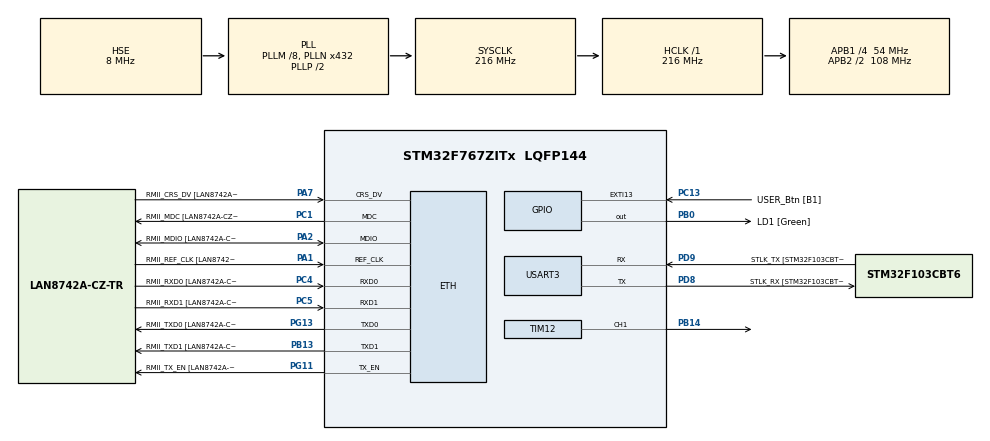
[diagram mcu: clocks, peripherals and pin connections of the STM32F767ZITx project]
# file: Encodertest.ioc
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ETH.MediaInterface=HAL_ETH_RMII_MODE
ETH.PHY_Name=LAN8742A_PHY_ADDRESS
ETH.PHY_Value=0
ETH.PhyAddress=0
Mcu.Family=STM32F7
Mcu.Name=STM32F767ZITx
Mcu.Package=LQFP144
NVIC.PriorityGroup=NVIC_PRIORITYGROUP_4
PA0/WKUP.Signal=S_TIM2_CH1_ETR
PA1.GPIO_Label=RMII_REF_CLK [LAN8742A-CZ-TR_REFCLK0]
PA1.Mode=RMII
PA1.Signal=ETH_REF_CLK
PA13.GPIO_Label=TMS
PA13.Mode=Serial_Wire
PA13.Signal=SYS_JTMS-SWDIO
PA14.GPIO_Label=TCK
PA14.Mode=Serial_Wire
PA14.Signal=SYS_JTCK-SWCLK
PA2.GPIO_Label=RMII_MDIO [LAN8742A-CZ-TR_MDIO]
PA2.Mode=RMII
PA2.Signal=ETH_MDIO
PA7.GPIO_Label=RMII_CRS_DV [LAN8742A-CZ-TR_CRS_DV]
PA7.Mode=RMII
PA7.Signal=ETH_CRS_DV
PA8.Signal=S_TIM1_CH1
PA9.Signal=S_TIM1_CH2
PB0.GPIO_Label=LD1 [Green]
PB0.Signal=GPIO_Output
PB13.GPIO_Label=RMII_TXD1 [LAN8742A-CZ-TR_TXD1]
PB13.Mode=RMII
PB13.Signal=ETH_TXD1
PB14.Signal=S_TIM12_CH1
PB3.GPIO_Label=SWO
PB3.Signal=SYS_JTDO-SWO
PC1.GPIO_Label=RMII_MDC [LAN8742A-CZ-TR_MDC]
PC1.Mode=RMII
PC1.Signal=ETH_MDC
PC13.GPIO_Label=USER_Btn [B1]
PC13.Signal=GPXTI13
PC14/OSC32_IN.Mode=LSE-External-Oscillator
PC14/OSC32_IN.Signal=RCC_OSC32_IN
PC15/OSC32_OUT.Mode=LSE-External-Oscillator
PC15/OSC32_OUT.Signal=RCC_OSC32_OUT
PC4.GPIO_Label=RMII_RXD0 [LAN8742A-CZ-TR_RXD0]
PC4.Mode=RMII
PC4.Signal=ETH_RXD0
PC5.GPIO_Label=RMII_RXD1 [LAN8742A-CZ-TR_RXD1]
PC5.Mode=RMII
PC5.Signal=ETH_RXD1
PD8.GPIO_Label=STLK_RX [STM32F103CBT6_PA3]
PD8.Mode=Asynchronous
PD8.Signal=USART3_TX
PD9.GPIO_Label=STLK_TX [STM32F103CBT6_PA2]
PD9.Mode=Asynchronous
PD9.Signal=USART3_RX
PG11.GPIO_Label=RMII_TX_EN [LAN8742A-CZ-TR_TXEN]
PG11.Mode=RMII
PG11.Signal=ETH_TX_EN
PG13.GPIO_Label=RMII_TXD0 [LAN8742A-CZ-TR_TXD0]
PG13.Mode=RMII
PG13.Signal=ETH_TXD0
PH0/OSC_IN.GPIO_Label=MCO [STM32F103CBT6_PA8]
PH0/OSC_IN.Mode=HSE-External-Clock-Source
PH0/OSC_IN.Signal=RCC_OSC_IN
PH1/OSC_OUT.Mode=HSE-External-Clock-Source
PH1/OSC_OUT.Signal=RCC_OSC_OUT
ProjectManager.HeapSize=0x200
ProjectManager.StackSize=0x400
ProjectManager.TargetToolchain=STM32CubeIDE
RCC.48MHZClocksFreq_Value=24000000
RCC.AHBFreq_Value=216000000
RCC.APB1CLKDivider=RCC_HCLK_DIV4
RCC.APB1Freq_Value=54000000
RCC.APB1TimFreq_Value=108000000
RCC.APB2CLKDivider=RCC_HCLK_DIV2
RCC.APB2Freq_Value=108000000
RCC.APB2TimFreq_Value=216000000
RCC.CortexFreq_Value=216000000
RCC.HCLKFreq_Value=216000000
RCC.HSE_VALUE=8000000
RCC.HSI_VALUE=16000000
RCC.PLLM=8
RCC.PLLMUL=RCC_PLL_MUL9
RCC.PLLN=432
RCC.PLLQ=9
RCC.PLLSourceVirtual=RCC_PLLSOURCE_HSE
RCC.PRESCALERUSB=RCC_USBCLKSOURCE_PLL_DIV1_5
RCC.SYSCLKFreq_VALUE=216000000
RCC.SYSCLKSource=RCC_SYSCLKSOURCE_PLLCLK
RCC.SYSCLKSourceVirtual=RCC_SYSCLKSOURCE_PLLCLK
RCC.USBFreq_Value=48000000
RCC.VCOOutputFreq_Value=432000000
SH.S_TIM12_CH1.0=TIM12_CH1,PWM Generation1 CH1
SH.S_TIM1_CH1.0=TIM1_CH1
SH.S_TIM1_CH2.0=TIM1_CH2
SH.S_TIM2_CH1_ETR.0=TIM2_CH1
TIM12.Channel-PWM\ Generation1\ CH1=TIM_CHANNEL_1
USART3.VirtualMode-Asynchronous=VM_ASYNC
VP_TIM1_VS_ClockSourceINT.Mode=Internal
board=NUCLEO-F767ZI

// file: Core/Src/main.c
/* USER CODE BEGIN Header */
/**
  ******************************************************************************
  * @file           : main.c
  * @brief          : Main program body
  ******************************************************************************
  * @attention
  *
  * Copyright (c) 2025 STMicroelectronics.
  * All rights reserved.
  *
  * This software is licensed under terms that can be found in the LICENSE file
  * in the root directory of this software component.
  * If no LICENSE file comes with this software, it is provided AS-IS.
  *
  ******************************************************************************
  */
/* USER CODE END Header */
#include "main.h"
#include "string.h"
#include "tim.h"

#if defined ( __ICCARM__ ) /*!< IAR Compiler */
#pragma location=0x2007c000
ETH_DMADescTypeDef  DMARxDscrTab[ETH_RX_DESC_CNT]; /* Ethernet Rx DMA Descriptors */
#pragma location=0x2007c0a0
ETH_DMADescTypeDef  DMATxDscrTab[ETH_TX_DESC_CNT]; /* Ethernet Tx DMA Descriptors */

#elif defined ( __CC_ARM )  /* MDK ARM Compiler */

__attribute__((at(0x2007c000))) ETH_DMADescTypeDef  DMARxDscrTab[ETH_RX_DESC_CNT]; /* Ethernet Rx DMA Descriptors */
__attribute__((at(0x2007c0a0))) ETH_DMADescTypeDef  DMATxDscrTab[ETH_TX_DESC_CNT]; /* Ethernet Tx DMA Descriptors */

#elif defined ( __GNUC__ ) /* GNU Compiler */

ETH_DMADescTypeDef DMARxDscrTab[ETH_RX_DESC_CNT] __attribute__((section(".RxDecripSection"))); /* Ethernet Rx DMA Descriptors */
ETH_DMADescTypeDef DMATxDscrTab[ETH_TX_DESC_CNT] __attribute__((section(".TxDecripSection")));   /* Ethernet Tx DMA Descriptors */
#endif

ETH_TxPacketConfig TxConfig;

ETH_HandleTypeDef heth;

TIM_HandleTypeDef htim12;

UART_HandleTypeDef huart3;

/* USER CODE BEGIN PV */
TIM_HandleTypeDef htim3;
/* USER CODE END PV */

void SystemClock_Config(void);
static void MX_GPIO_Init(void);
static void MX_ETH_Init(void);
static void MX_USART3_UART_Init(void);
static void MX_TIM12_Init(void);
//static void MX_TIM1_Init(void);
/* USER CODE BEGIN PFP */
void pwm_set_duty(uint8_t);
void MX_TIM3_Init(void);
/* USER CODE END PFP */

int main(void)
{
  HAL_Init();

  SystemClock_Config();

  MX_GPIO_Init();
  MX_ETH_Init();
  MX_USART3_UART_Init();
  MX_TIM12_Init();
  MX_TIM1_Init();  // Make sure this is uncommented if you're using TIM1

  /* USER CODE BEGIN 2 */
  HAL_TIM_Encoder_Start(&htim1, TIM_CHANNEL_ALL);  // Start encoder interface
  /* USER CODE END 2 */

  /* Infinite loop */
  /* USER CODE BEGIN WHILE */
  while (1)
  {
   uint16_t count = __HAL_TIM_GET_COUNTER(&htim1);// Hardware counter
	printf("Encoder count: %u\r\n", count);
	 /* Encoder_Update();
	      printf("Encoder position: %d\r\n", Encoder_GetPosition());
	      HAL_Delay(50);
    HAL_Delay(100);*/
  }
  /* USER CODE END WHILE */

}

void SystemClock_Config(void)
{
  RCC_OscInitTypeDef RCC_OscInitStruct = {0};
  RCC_ClkInitTypeDef RCC_ClkInitStruct = {0};

  /** Configure LSE Drive Capability
  */
  HAL_PWR_EnableBkUpAccess();

  /** Configure the main internal regulator output voltage
  */
  __HAL_RCC_PWR_CLK_ENABLE();
  __HAL_PWR_VOLTAGESCALING_CONFIG(PWR_REGULATOR_VOLTAGE_SCALE1);

  /** Initializes the RCC Oscillators according to the specified parameters
  * in the RCC_OscInitTypeDef structure.
  */
  RCC_OscInitStruct.OscillatorType = RCC_OSCILLATORTYPE_HSE;
  RCC_OscInitStruct.HSEState = RCC_HSE_BYPASS;
  RCC_OscInitStruct.PLL.PLLState = RCC_PLL_ON;
  RCC_OscInitStruct.PLL.PLLSource = RCC_PLLSOURCE_HSE;
  RCC_OscInitStruct.PLL.PLLM = 8;
  RCC_OscInitStruct.PLL.PLLN = 432;
  RCC_OscInitStruct.PLL.PLLP = RCC_PLLP_DIV2;
  RCC_OscInitStruct.PLL.PLLQ = 9;
  RCC_OscInitStruct.PLL.PLLR = 2;
  if (HAL_RCC_OscConfig(&RCC_OscInitStruct) != HAL_OK)
  {
    Error_Handler();
  }

  /** Activate the Over-Drive mode
  */
  if (HAL_PWREx_EnableOverDrive() != HAL_OK)
  {
    Error_Handler();
  }

  /** Initializes the CPU, AHB and APB buses clocks
  */
  RCC_ClkInitStruct.ClockType = RCC_CLOCKTYPE_HCLK|RCC_CLOCKTYPE_SYSCLK
                              |RCC_CLOCKTYPE_PCLK1|RCC_CLOCKTYPE_PCLK2;
  RCC_ClkInitStruct.SYSCLKSource = RCC_SYSCLKSOURCE_PLLCLK;
  RCC_ClkInitStruct.AHBCLKDivider = RCC_SYSCLK_DIV1;
  RCC_ClkInitStruct.APB1CLKDivider = RCC_HCLK_DIV4;
  RCC_ClkInitStruct.APB2CLKDivider = RCC_HCLK_DIV2;

  if (HAL_RCC_ClockConfig(&RCC_ClkInitStruct, FLASH_LATENCY_7) != HAL_OK)
  {
    Error_Handler();
  }
}

static void MX_ETH_Init(void)
{

   static uint8_t MACAddr[6];

  heth.Instance = ETH;
  MACAddr[0] = 0x00;
  MACAddr[1] = 0x80;
  MACAddr[2] = 0xE1;
  MACAddr[3] = 0x00;
  MACAddr[4] = 0x00;
  MACAddr[5] = 0x00;
  heth.Init.MACAddr = &MACAddr[0];
  heth.Init.MediaInterface = HAL_ETH_RMII_MODE;
  heth.Init.TxDesc = DMATxDscrTab;
  heth.Init.RxDesc = DMARxDscrTab;
  heth.Init.RxBuffLen = 1524;

  if (HAL_ETH_Init(&heth) != HAL_OK)
  {
    Error_Handler();
  }

  memset(&TxConfig, 0 , sizeof(ETH_TxPacketConfig));
  TxConfig.Attributes = ETH_TX_PACKETS_FEATURES_CSUM | ETH_TX_PACKETS_FEATURES_CRCPAD;
  TxConfig.ChecksumCtrl = ETH_CHECKSUM_IPHDR_PAYLOAD_INSERT_PHDR_CALC;
  TxConfig.CRCPadCtrl = ETH_CRC_PAD_INSERT;

}

/*static void MX_TIM1_Init(void)
{

   USER CODE BEGIN TIM1_Init 0

   USER CODE END TIM1_Init 0

  TIM_ClockConfigTypeDef sClockSourceConfig = {0};
  TIM_MasterConfigTypeDef sMasterConfig = {0};

   USER CODE BEGIN TIM1_Init 1

   USER CODE END TIM1_Init 1
  htim1.Instance = TIM1;
  htim1.Init.Prescaler = 0;
  htim1.Init.CounterMode = TIM_COUNTERMODE_UP;
  htim1.Init.Period = 65535;
  htim1.Init.ClockDivision = TIM_CLOCKDIVISION_DIV1;
  htim1.Init.RepetitionCounter = 0;
  htim1.Init.AutoReloadPreload = TIM_AUTORELOAD_PRELOAD_DISABLE;
  if (HAL_TIM_Base_Init(&htim1) != HAL_OK)
  {
    Error_Handler();
  }
  sClockSourceConfig.ClockSource = TIM_CLOCKSOURCE_INTERNAL;
  if (HAL_TIM_ConfigClockSource(&htim1, &sClockSourceConfig) != HAL_OK)
  {
    Error_Handler();
  }
  sMasterConfig.MasterOutputTrigger = TIM_TRGO_RESET;
  sMasterConfig.MasterOutputTrigger2 = TIM_TRGO2_RESET;
  sMasterConfig.MasterSlaveMode = TIM_MASTERSLAVEMODE_DISABLE;
  if (HAL_TIMEx_MasterConfigSynchronization(&htim1, &sMasterConfig) != HAL_OK)
  {
    Error_Handler();
  }
   USER CODE BEGIN TIM1_Init 2

   USER CODE END TIM1_Init 2

}*/

static void MX_TIM12_Init(void)
{

  TIM_OC_InitTypeDef sConfigOC = {0};

  htim12.Instance = TIM12;
  htim12.Init.Prescaler = 0;
  htim12.Init.CounterMode = TIM_COUNTERMODE_UP;
  htim12.Init.Period = 65535;
  htim12.Init.ClockDivision = TIM_CLOCKDIVISION_DIV1;
  htim12.Init.AutoReloadPreload = TIM_AUTORELOAD_PRELOAD_DISABLE;
  if (HAL_TIM_PWM_Init(&htim12) != HAL_OK)
  {
    Error_Handler();
  }
  sConfigOC.OCMode = TIM_OCMODE_PWM1;
  sConfigOC.Pulse = 0;
  sConfigOC.OCPolarity = TIM_OCPOLARITY_HIGH;
  sConfigOC.OCFastMode = TIM_OCFAST_DISABLE;
  if (HAL_TIM_PWM_ConfigChannel(&htim12, &sConfigOC, TIM_CHANNEL_1) != HAL_OK)
  {
    Error_Handler();
  }
  HAL_TIM_MspPostInit(&htim12);

}

static void MX_USART3_UART_Init(void)
{

  huart3.Instance = USART3;
  huart3.Init.BaudRate = 115200;
  huart3.Init.WordLength = UART_WORDLENGTH_8B;
  huart3.Init.StopBits = UART_STOPBITS_1;
  huart3.Init.Parity = UART_PARITY_NONE;
  huart3.Init.Mode = UART_MODE_TX_RX;
  huart3.Init.HwFlowCtl = UART_HWCONTROL_NONE;
  huart3.Init.OverSampling = UART_OVERSAMPLING_16;
  huart3.Init.OneBitSampling = UART_ONE_BIT_SAMPLE_DISABLE;
  huart3.AdvancedInit.AdvFeatureInit = UART_ADVFEATURE_NO_INIT;
  if (HAL_UART_Init(&huart3) != HAL_OK)
  {
    Error_Handler();
  }

}

static void MX_GPIO_Init(void)
{
  GPIO_InitTypeDef GPIO_InitStruct = {0};

  /* GPIO Ports Clock Enable */
  __HAL_RCC_GPIOC_CLK_ENABLE();
  __HAL_RCC_GPIOH_CLK_ENABLE();
  __HAL_RCC_GPIOA_CLK_ENABLE();
  __HAL_RCC_GPIOB_CLK_ENABLE();
  __HAL_RCC_GPIOD_CLK_ENABLE();
  __HAL_RCC_GPIOG_CLK_ENABLE();

  /*Configure GPIO pin Output Level */
  HAL_GPIO_WritePin(LD1_GPIO_Port, LD1_Pin, GPIO_PIN_RESET);

  /*Configure GPIO pin : USER_Btn_Pin */
  GPIO_InitStruct.Pin = USER_Btn_Pin;
  GPIO_InitStruct.Mode = GPIO_MODE_IT_RISING;
  GPIO_InitStruct.Pull = GPIO_NOPULL;
  HAL_GPIO_Init(USER_Btn_GPIO_Port, &GPIO_InitStruct);

  /*Configure GPIO pin : PA0 */
  GPIO_InitStruct.Pin = GPIO_PIN_0;
  GPIO_InitStruct.Mode = GPIO_MODE_AF_PP;
  GPIO_InitStruct.Pull = GPIO_NOPULL;
  GPIO_InitStruct.Speed = GPIO_SPEED_FREQ_LOW;
  GPIO_InitStruct.Alternate = GPIO_AF1_TIM2;
  HAL_GPIO_Init(GPIOA, &GPIO_InitStruct);

  /*Configure GPIO pin : LD1_Pin */
  GPIO_InitStruct.Pin = LD1_Pin;
  GPIO_InitStruct.Mode = GPIO_MODE_OUTPUT_PP;
  GPIO_InitStruct.Pull = GPIO_NOPULL;
  GPIO_InitStruct.Speed = GPIO_SPEED_FREQ_LOW;
  HAL_GPIO_Init(LD1_GPIO_Port, &GPIO_InitStruct);

}

/* USER CODE BEGIN 4 */
void pwm_set_duty(uint8_t percent) {
  if (percent > 100) percent = 100;
  uint32_t value = (htim12.Init.Period * percent) / 100;
  __HAL_TIM_SET_COMPARE(&htim12, TIM_CHANNEL_1, value);
}

int _write(int file, char *data, int len)
{
    HAL_UART_Transmit(&huart3, (uint8_t*)data, len, HAL_MAX_DELAY);
    return len;
}

void MX_TIM3_Init(void)
{
  TIM_Encoder_InitTypeDef sConfig = {0};
  TIM_MasterConfigTypeDef sMasterConfig = {0};

  htim3.Instance = TIM3;
  htim3.Init.Prescaler = 0;
  htim3.Init.CounterMode = TIM_COUNTERMODE_UP;
  htim3.Init.Period = 0xFFFF;
  htim3.Init.ClockDivision = TIM_CLOCKDIVISION_DIV1;
  htim3.Init.RepetitionCounter = 0;
  htim3.Init.AutoReloadPreload = TIM_AUTORELOAD_PRELOAD_DISABLE;

  sConfig.EncoderMode = TIM_ENCODERMODE_TI12;
  sConfig.IC1Polarity = TIM_ICPOLARITY_RISING;
  sConfig.IC1Selection = TIM_ICSELECTION_DIRECTTI;
  sConfig.IC1Prescaler = TIM_ICPSC_DIV1;
  sConfig.IC1Filter = 0;
  sConfig.IC2Polarity = TIM_ICPOLARITY_RISING;
  sConfig.IC2Selection = TIM_ICSELECTION_DIRECTTI;
  sConfig.IC2Prescaler = TIM_ICPSC_DIV1;
  sConfig.IC2Filter = 0;

  HAL_TIM_Encoder_Init(&htim3, &sConfig);

  sMasterConfig.MasterOutputTrigger = TIM_TRGO_RESET;
  sMasterConfig.MasterSlaveMode = TIM_MASTERSLAVEMODE_DISABLE;
  HAL_TIMEx_MasterConfigSynchronization(&htim3, &sMasterConfig);
}

/* USER CODE END 4 */

void Error_Handler(void)
{
  __disable_irq();
  while (1)
  {
  }
}
